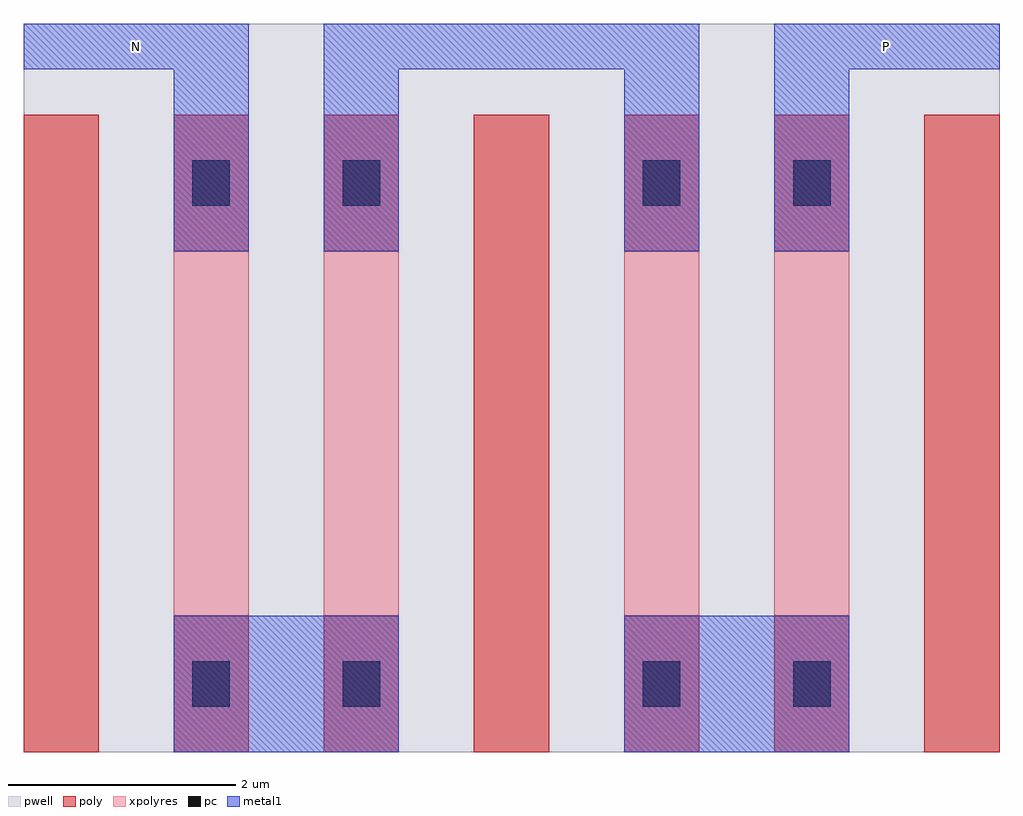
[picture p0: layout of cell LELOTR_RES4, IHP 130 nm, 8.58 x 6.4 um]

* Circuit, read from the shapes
.subckt LELOTR_RES4 N P
XR1 N n1 xpolyres w=0.66u l=3.2u
XR2 n2 n1 xpolyres w=0.66u l=3.2u
XR3 n2 n3 xpolyres w=0.66u l=3.2u
XR4 P n3 xpolyres w=0.66u l=3.2u
.ends

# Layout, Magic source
magic
tech ihp-sg13g2
magscale 1 2
<< poly >>
rect 198 -40 330 40
rect 462 -40 594 40
rect 990 -40 1122 40
rect 1254 -40 1386 40
rect 198 40 330 120
rect 462 40 594 120
rect 990 40 1122 120
rect 1254 40 1386 120
rect 198 120 330 200
rect 462 120 594 200
rect 990 120 1122 200
rect 1254 120 1386 200
rect 198 840 330 920
rect 462 840 594 920
rect 990 840 1122 920
rect 1254 840 1386 920
rect 198 920 330 1000
rect 462 920 594 1000
rect 990 920 1122 1000
rect 1254 920 1386 1000
rect 198 1000 330 1080
rect 462 1000 594 1080
rect 990 1000 1122 1080
rect 1254 1000 1386 1080
rect -66 -40 66 40
rect 726 -40 858 40
rect 1518 -40 1650 40
rect -66 40 66 120
rect 726 40 858 120
rect 1518 40 1650 120
rect -66 120 66 200
rect 726 120 858 200
rect 1518 120 1650 200
rect -66 200 66 280
rect 726 200 858 280
rect 1518 200 1650 280
rect -66 280 66 360
rect 726 280 858 360
rect 1518 280 1650 360
rect -66 360 66 440
rect 726 360 858 440
rect 1518 360 1650 440
rect -66 440 66 520
rect 726 440 858 520
rect 1518 440 1650 520
rect -66 520 66 600
rect 726 520 858 600
rect 1518 520 1650 600
rect -66 600 66 680
rect 726 600 858 680
rect 1518 600 1650 680
rect -66 680 66 760
rect 726 680 858 760
rect 1518 680 1650 760
rect -66 760 66 840
rect 726 760 858 840
rect 1518 760 1650 840
rect -66 840 66 920
rect 726 840 858 920
rect 1518 840 1650 920
rect -66 920 66 1000
rect 726 920 858 1000
rect 1518 920 1650 1000
rect -66 1000 66 1080
rect 726 1000 858 1080
rect 1518 1000 1650 1080
<< xpolyres >>
rect 198 200 330 280
rect 462 200 594 280
rect 990 200 1122 280
rect 1254 200 1386 280
rect 198 280 330 360
rect 462 280 594 360
rect 990 280 1122 360
rect 1254 280 1386 360
rect 198 360 330 440
rect 462 360 594 440
rect 990 360 1122 440
rect 1254 360 1386 440
rect 198 440 330 520
rect 462 440 594 520
rect 990 440 1122 520
rect 1254 440 1386 520
rect 198 520 330 600
rect 462 520 594 600
rect 990 520 1122 600
rect 1254 520 1386 600
rect 198 600 330 680
rect 462 600 594 680
rect 990 600 1122 680
rect 1254 600 1386 680
rect 198 680 330 760
rect 462 680 594 760
rect 990 680 1122 760
rect 1254 680 1386 760
rect 198 760 330 840
rect 462 760 594 840
rect 990 760 1122 840
rect 1254 760 1386 840
<< pc >>
rect 231 40 297 80
rect 231 80 297 120
rect 495 40 561 80
rect 495 80 561 120
rect 1023 40 1089 80
rect 1023 80 1089 120
rect 1287 40 1353 80
rect 1287 80 1353 120
rect 231 920 297 960
rect 231 960 297 1000
rect 495 920 561 960
rect 495 960 561 1000
rect 1023 920 1089 960
rect 1023 960 1089 1000
rect 1287 920 1353 960
rect 1287 960 1353 1000
<< metal1 >>
rect 198 -40 594 40
rect 990 -40 1386 40
rect 198 40 594 120
rect 990 40 1386 120
rect 198 120 594 200
rect 990 120 1386 200
rect 198 840 330 920
rect 462 840 594 920
rect 990 840 1122 920
rect 1254 840 1386 920
rect 198 920 330 1000
rect 462 920 594 1000
rect 990 920 1122 1000
rect 1254 920 1386 1000
rect 198 1000 330 1080
rect 462 1000 594 1080
rect 990 1000 1122 1080
rect 1254 1000 1386 1080
rect 198 1080 330 1160
rect 462 1080 594 1160
rect 990 1080 1122 1160
rect 1254 1080 1386 1160
rect -66 1160 330 1240
rect -66 1160 330 1240
rect 462 1160 1122 1240
rect 1254 1160 1650 1240
rect 1254 1160 1650 1240
<< pwell >>
rect -66 -40 1650 1240
<< labels >>
flabel metal1 s -66 1160 330 1240 0 FreeSans 400 0 0 0 N
port 1 nsew signal bidirectional
flabel metal1 s 1254 1160 1650 1240 0 FreeSans 400 0 0 0 P
port 2 nsew signal bidirectional
<< properties >>
string FIXED_BBOX 0 0 1584 1200
<< end >>
